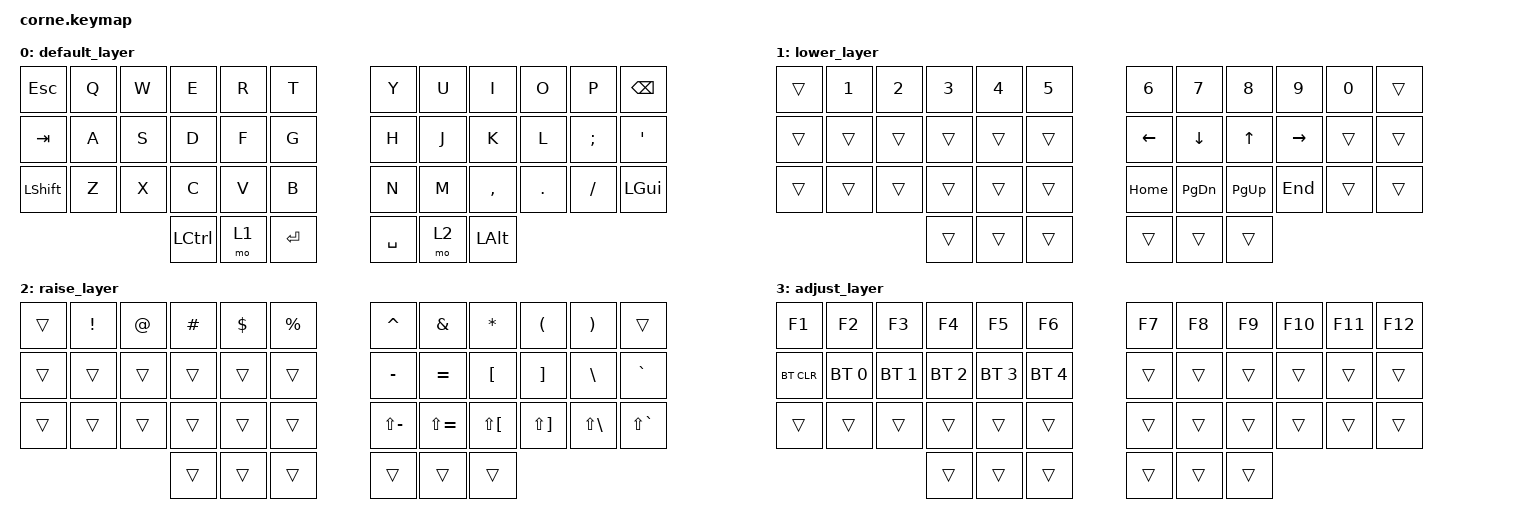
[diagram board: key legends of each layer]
/*
 * Copyright (c) 2020 The ZMK Contributors
 *
 * SPDX-License-Identifier: MIT
 */

#include <behaviors.dtsi>
#include <dt-bindings/zmk/bt.h>
#include <dt-bindings/zmk/keys.h>

/ {
    keymap {
        compatible = "zmk,keymap";

        default_layer {
            // -----------------------------------------------------------------------------------------
            // |  TAB |  Q  |  W  |  E  |  R  |  T  |   |  Y  |  U   |  I  |  O  |  P  | BSPC |
            // | CTRL |  A  |  S  |  D  |  F  |  G  |   |  H  |  J   |  K  |  L  |  ;  |  '   |
            // | SHFT |  Z  |  X  |  C  |  V  |  B  |   |  N  |  M   |  ,  |  .  |  /  | ESC  |
            //                    | GUI | LWR | SPC |   | ENT | RSE  | ALT |

            bindings = <
&kp ESCAPE  &kp Q  &kp W  &kp E      &kp R  &kp T        &kp Y      &kp U  &kp I         &kp O    &kp P     &kp BSPC
&kp TAB     &kp A  &kp S  &kp D      &kp F  &kp G        &kp H      &kp J  &kp K         &kp L    &kp SEMI  &kp SQT
&kp LSHFT   &kp Z  &kp X  &kp C      &kp V  &kp B        &kp N      &kp M  &kp COMMA     &kp DOT  &kp FSLH  &kp LEFT_GUI
                          &kp LCTRL  &mo 1  &kp ENTER    &kp SPACE  &mo 2  &kp LEFT_ALT
            >;
        };

        lower_layer {
            // -----------------------------------------------------------------------------------------
            // |  TAB |  1  |  2  |  3  |  4  |  5  |   |  6  |  7  |  8  |  9  |  0  | BSPC |
            // | BTCLR| BT1 | BT2 | BT3 | BT4 | BT5 |   | LFT | DWN |  UP | RGT |     |      |
            // | SHFT |     |     |     |     |     |   |     |     |     |     |     |      |
            //                    | GUI |     | SPC |   | ENT |     | ALT |

            bindings = <
&trans  &kp N1  &kp N2  &kp N3  &kp N4  &kp N5    &kp N6    &kp N7     &kp N8     &kp N9     &kp N0  &trans
&trans  &trans  &trans  &trans  &trans  &trans    &kp LEFT  &kp DOWN   &kp UP     &kp RIGHT  &trans  &trans
&trans  &trans  &trans  &trans  &trans  &trans    &kp HOME  &kp PG_DN  &kp PG_UP  &kp END    &trans  &trans
                        &trans  &trans  &trans    &trans    &trans     &trans
            >;
        };

        raise_layer {
            // -----------------------------------------------------------------------------------------
            // |  TAB |  !  |  @  |  #  |  $  |  %  |   |  ^  |  &  |  *  |  (  |  )  | BSPC |
            // | CTRL |     |     |     |     |     |   |  -  |  =  |  [  |  ]  |  \  |  `   |
            // | SHFT |     |     |     |     |     |   |  _  |  +  |  {  |  }  | "|" |  ~   |
            //                    | GUI |     | SPC |   | ENT |     | ALT |

            bindings = <
&trans  &kp EXCL  &kp AT  &kp HASH  &kp DLLR  &kp PRCNT    &kp CARET      &kp AMPS       &kp ASTRK             &kp LPAR               &kp RPAR      &trans
&trans  &trans    &trans  &trans    &trans    &trans       &kp MINUS      &kp EQUAL      &kp LEFT_BRACKET      &kp RIGHT_BRACKET      &kp BSLH      &kp GRAVE
&trans  &trans    &trans  &trans    &trans    &trans       &kp LS(MINUS)  &kp LS(EQUAL)  &kp LS(LEFT_BRACKET)  &kp LS(RIGHT_BRACKET)  &kp LS(BSLH)  &kp LS(GRAVE)
                          &trans    &trans    &trans       &trans         &trans         &trans
            >;
        };

        adjust_layer {
            bindings = <
&kp F1      &kp F2        &kp F3        &kp F4        &kp F5        &kp F6          &kp F7  &kp F8  &kp F9  &kp F10  &kp F11  &kp F12
&bt BT_CLR  &bt BT_SEL 0  &bt BT_SEL 1  &bt BT_SEL 2  &bt BT_SEL 3  &bt BT_SEL 4    &trans  &trans  &trans  &trans   &trans   &trans
&trans      &trans        &trans        &trans        &trans        &trans          &trans  &trans  &trans  &trans   &trans   &trans
                                        &trans        &trans        &trans          &trans  &trans  &trans
            >;
        };
    };

    conditional_layers {
        compatible = "zmk,conditional-layers";

        both {
            if-layers = <1 2>;
            then-layer = <3>;
        };
    };
};
